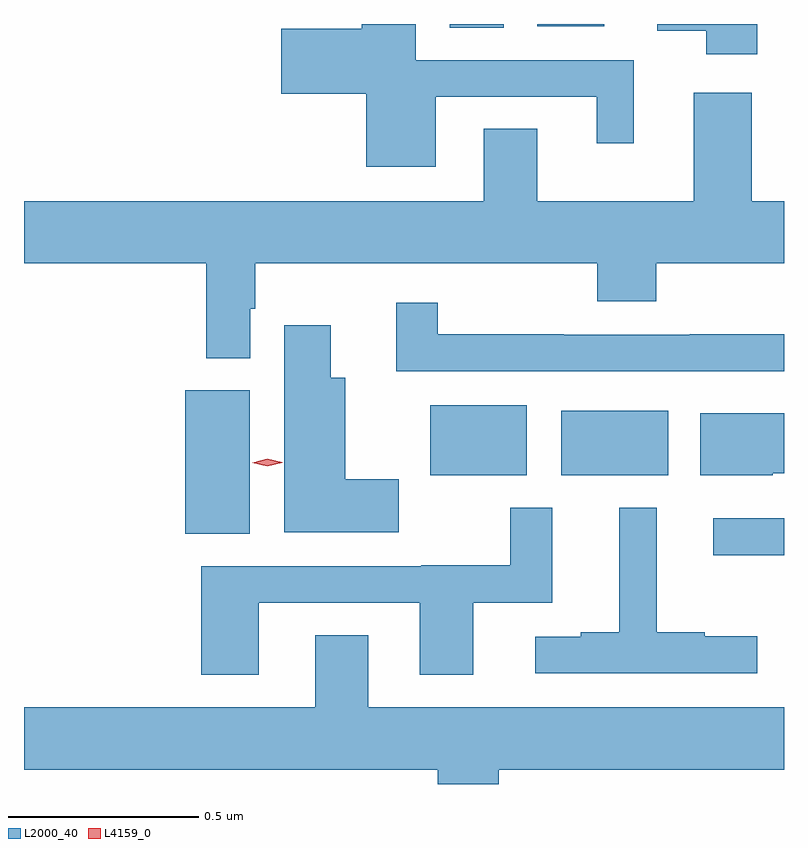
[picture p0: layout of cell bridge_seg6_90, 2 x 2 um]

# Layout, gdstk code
import gdstk
lib = gdstk.Library(unit=1e-6, precision=1e-09)
def R(c, l, rs):  # rectangles x0, y0, x1, y1
    for r in rs: c.add(gdstk.rectangle(r[:2], r[2:], *l))
def P(c, l, *ps):  # polygons
    for p in ps: c.add(gdstk.Polygon(p, *l))
L2000_40 = (2000, 40)
L4159_0 = (4159, 0)

bridge_seg6_90 = lib.new_cell('bridge_seg6_90')
R(bridge_seg6_90, L2000_40, [(715.053,950.564,715.239,950.661), (713.663,950.62,713.833,950.998), (714.308,950.774,714.562,950.959), (714.653,950.774,714.934,950.944), (714.359,951.952,714.502,951.962), (714.59,951.956,714.766,951.962)])
P(bridge_seg6_90, L2000_40, [(714.322,951.771),(714.746,951.771),(714.746,951.648),(714.844,951.648),(714.844,951.867),(714.27,951.867),(714.27,951.962),(714.128,951.962),(714.128,951.95),(713.916,951.95),(713.916,951.779),(714.14,951.779),(714.14,951.587),(714.322,951.587)],
  [(715.169,951.962),(714.905,951.962),(714.905,951.944),(715.034,951.944),(715.034,951.882),(715.169,951.882)],
  [(713.835,951.213),(713.848,951.213),(713.848,951.332),(714.748,951.332),(714.748,951.233),(714.903,951.233),(714.903,951.332),(715.239,951.332),(715.239,951.496),(715.154,951.496),(715.154,951.781),(715.001,951.781),(715.001,951.496),(714.589,951.496),(714.589,951.686),(714.449,951.686),(714.449,951.496),(713.239,951.496),(713.239,951.332),(713.719,951.332),(713.719,951.083),(713.835,951.083)],
  [(715.239,951.146),(714.991,951.146),(714.991,951.144),(714.659,951.144),(714.659,951.146),(714.328,951.146),(714.328,951.229),(714.218,951.229),(714.218,951.048),(715.239,951.048)],
  [(714.225,950.764),(714.085,950.764),(714.085,951.031),(714.046,951.031),(714.046,951.169),(713.924,951.169),(713.924,950.624),(714.225,950.624)],
  [(715.209,950.78),(715.239,950.78),(715.239,950.938),(715.019,950.938),(715.019,950.774),(715.209,950.774)],
  [(713.857,950.439),(714.281,950.439),(714.281,950.25),(714.421,950.25),(714.421,950.439),(714.629,950.439),(714.629,950.689),(714.519,950.689),(714.519,950.538),(714.285,950.538),(714.285,950.535),(713.705,950.535),(713.705,950.249),(713.857,950.249)],
  [(715.168,950.351),(715.031,950.351),(715.031,950.362),(714.904,950.362),(714.904,950.689),(714.806,950.689),(714.806,950.362),(714.704,950.362),(714.704,950.349),(714.585,950.349),(714.585,950.253),(715.168,950.253)],
  [(714.488,950),(715.239,950),(715.239,950.164),(714.145,950.164),(714.145,950.354),(714.005,950.354),(714.005,950.164),(713.239,950.164),(713.239,950),(714.328,950),(714.328,949.962),(714.488,949.962)])
P(bridge_seg6_90, L4159_0, [(713.879,950.798),(713.839,950.807),(713.839,950.807),(713.839,950.807),(713.879,950.818),(713.919,950.809),(713.919,950.809),(713.919,950.808)])

lib.write_gds('bridge_seg6_90.gds')
